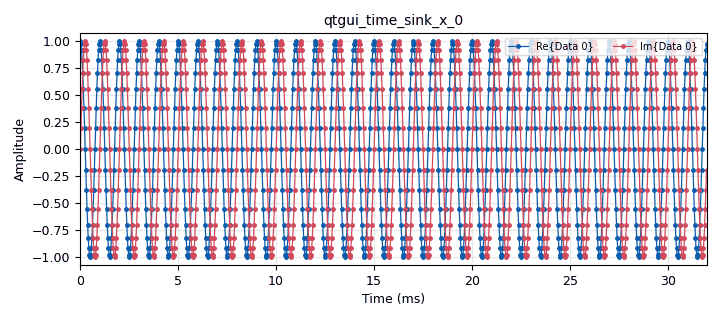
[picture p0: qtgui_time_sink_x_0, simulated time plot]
options:
  parameters:
    generate_options: qt_gui
    id: stream
    output_language: python
    title: stream
  states: {}

blocks:
- name: samp_rate
  id: variable
  parameters:
    value: '32000'
  states: {}
- name: analog_sig_source_x_0
  id: analog_sig_source_x
  parameters:
    amp: '1'
    freq: '1000'
    offset: '0'
    phase: '0'
    samp_rate: samp_rate
    type: complex
    waveform: analog.GR_COS_WAVE
  states: {}
- name: blocks_throttle_0
  id: blocks_throttle
  parameters:
    samples_per_second: samp_rate
    type: complex
  states: {}
- name: qtgui_time_sink_x_0
  id: qtgui_time_sink_x
  parameters:
    label1: ''
    label2: ''
    marker1: '0'
    marker2: '0'
    size: '1024'
    srate: samp_rate
    type: complex
  states: {}

connections:
- [analog_sig_source_x_0, '0', blocks_throttle_0, '0']
- [blocks_throttle_0, '0', qtgui_time_sink_x_0, '0']

metadata:
  file_format: 1
